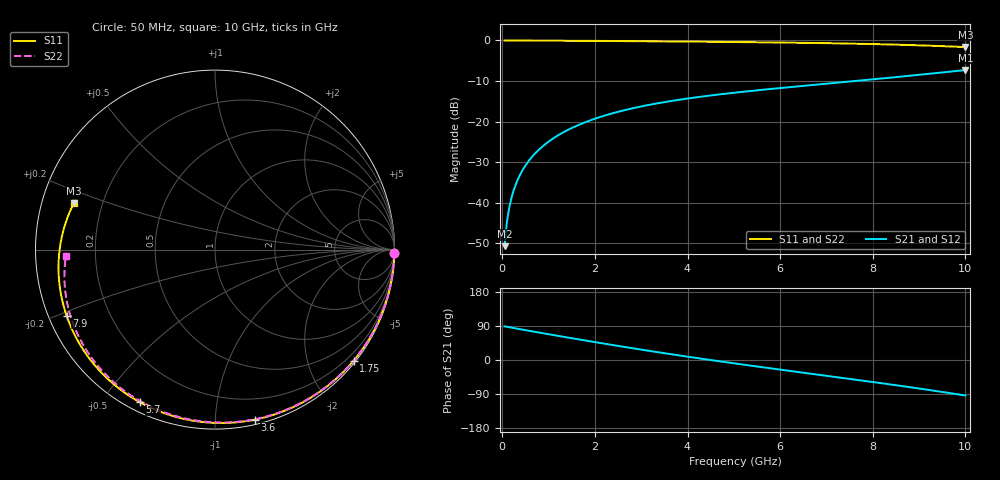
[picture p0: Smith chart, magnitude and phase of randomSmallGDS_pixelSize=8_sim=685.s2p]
! freq	dB(S11)	phase(S11)	dB(S12)	phase(S12)
!  dB(S21)	phase(S21)	dB(S22)	phase(S22)
!S-par simulation data
#  GHz  S  DB  R 50
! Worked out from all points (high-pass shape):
!   200 points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, 50 MHz to 10 GHz, reference 50 ohm
!   highest |S21| = -7.31 dB at 10 GHz (marker M1); lowest = -50.7 dB at 50 MHz (marker M2)
!   |S21| within 3 dB of the highest: 7.349 GHz to end of sweep
!   lowest |S11| = -1.6 dB at 10 GHz (marker M3), VSWR 10.63, Z = 4.83 + j7.95 ohm
!   |S11| at or under -10 dB: nowhere
!   |S22| runs from -1.6 to 0.0 dB; largest |S21 - S12| = 0
!   S11 on the Smith chart (normalised r, x): 50 MHz: open; 1.75 GHz: 0.05, -2.84; 3.6 GHz: 0.04, -1.26; 5.7 GHz: 0.04, -0.62; 7.9 GHz: 0.05, -0.21; 10 GHz: 0.10, +0.16
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0.05  -0.00 -1.1  -50.74 88.8  -50.74 88.8  -0.00 -1.1
0.1  -0.00 -2.3  -44.73 87.6  -44.73 87.6  -0.00 -2.1
0.15  -0.01 -3.4  -41.22 86.5  -41.22 86.5  -0.01 -3.2
0.2  -0.01 -4.5  -38.74 85.3  -38.74 85.3  -0.01 -4.2
0.25  -0.01 -5.7  -36.81 84.2  -36.81 84.2  -0.01 -5.3
0.35  -0.01 -7.9  -33.91 82.0  -33.91 82.0  -0.01 -7.4
0.5  -0.02 -11.3  -30.85 78.7  -30.85 78.7  -0.02 -10.5
0.7  -0.02 -15.7  -27.97 74.4  -27.97 74.4  -0.02 -14.7
1  -0.04 -22.4  -24.96 68.0  -24.96 68.0  -0.04 -20.9
1.35  -0.06 -30.1  -22.46 60.6  -22.46 60.6  -0.06 -28.0
1.75  -0.09 -38.8  -20.36 52.3  -20.36 52.3  -0.08 -36.1
2.6  -0.15 -56.7  -17.31 35.2  -17.31 35.2  -0.15 -52.8
3.4  -0.22 -72.9  -15.41 19.8  -15.41 19.8  -0.21 -67.9
3.6  -0.24 -76.8  -15.02 16.1  -15.02 16.1  -0.23 -71.6
4.3  -0.31 -90.3  -13.86 3.4  -13.86 3.4  -0.30 -84.1
5.05  -0.39 -104.3  -12.84 -9.6  -12.84 -9.6  -0.37 -97.0
5.7  -0.47 -116.2  -12.08 -20.5  -12.08 -20.5  -0.45 -107.8
6.7  -0.62 -134.2  -10.99 -36.8  -10.99 -36.8  -0.60 -124.0
7.9  -0.87 -156.0  -9.71 -56.4  -9.71 -56.4  -0.84 -143.1
8.35  -0.99 -164.5  -9.21 -64.0  -9.21 -64.0  -0.96 -150.3
9.2  -1.28 178.8  -8.24 -78.8  -8.24 -78.8  -1.24 -164.1
10  -1.64 161.8  -7.31 -93.8  -7.31 -93.8  -1.60 -177.4
